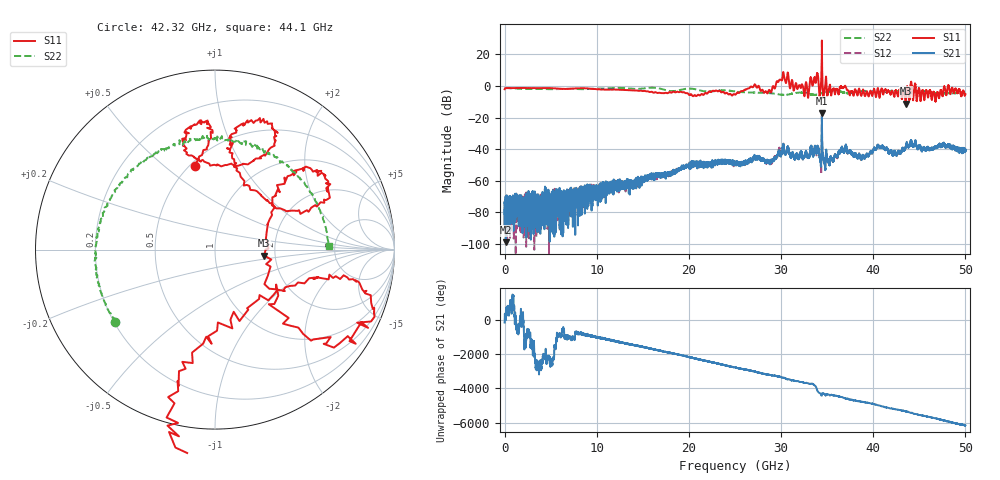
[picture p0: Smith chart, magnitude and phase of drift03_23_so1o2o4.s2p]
!Created with skrf (http://scikit-rf.org).
# Hz S RI R 50.0
!freq ReS11 ImS11 ReS21 ImS21 ReS12 ImS12 ReS22 ImS22
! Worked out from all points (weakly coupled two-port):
!   10000 points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, 5.3 MHz to 50 GHz, reference 50 ohm
!   highest |S21| = -17.39 dB at 34.43 GHz (marker M1); lowest = -98.9 dB at 135.3 MHz (marker M2)
!   lowest |S11| = -11.2 dB at 43.53 GHz (marker M3), VSWR 1.76, Z = 87.6 - j6.33 ohm
!   |S11| at or under -10 dB: 43.49766 GHz to 43.53476 GHz (37.11 MHz wide, 0.0853 % of centre); 43.53557 GHz to 43.54376 GHz (8.19 MHz wide, 0.0188 % of centre)
!   |S22| runs from -5.8 to -1.1 dB; largest |S21 - S12| = 0.03
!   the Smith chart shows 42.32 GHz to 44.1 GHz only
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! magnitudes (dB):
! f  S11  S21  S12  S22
! 5.3 MHz  -2.1  -74.0  -82.5  -1.3
! 135.3 MHz  -1.4  -98.9  -77.2  -1.4
! 3.85 GHz  -1.4  -84.2  -72.9  -2.0
! 8.34 GHz  -1.5  -64.2  -68.6  -2.1
! 16.67 GHz  -4.4  -55.4  -56.2  -1.5
! 20.53 GHz  -6.2  -49.5  -50.0  -2.0
! 25.01 GHz  -5.5  -49.2  -49.5  -3.5
! 27.02 GHz  -0.4  -46.1  -45.5  -4.3
! 28.72 GHz  -2.5  -48.1  -48.1  -4.5
! 30.14 GHz  4.4  -40.2  -40.4  -5.7
! 32.74 GHz  2.0  -42.4  -42.4  -4.6
! 33.34 GHz  2.5  -39.8  -40.3  -5.6
! 33.82 GHz  3.9  -42.1  -42.5  -5.6
! 34.43 GHz  28.7  -17.4  -19.1  -4.6
! 35.34 GHz  -0.5  -45.3  -45.3  -3.3
! 36.85 GHz  -0.5  -41.8  -41.1  -4.4
! 38.87 GHz  -2.5  -44.0  -44.1  -3.2
! 40.62 GHz  -5.5  -38.7  -38.5  -4.0
! 41.67 GHz  -3.1  -42.2  -42.2  -3.3
! 43.53 GHz  -11.2  -38.7  -38.4  -4.3
! 48.32 GHz  -4.6  -37.6  -38.2  -4.5
! 50 GHz  -5.3  -40.4  -40.8  -4.6
